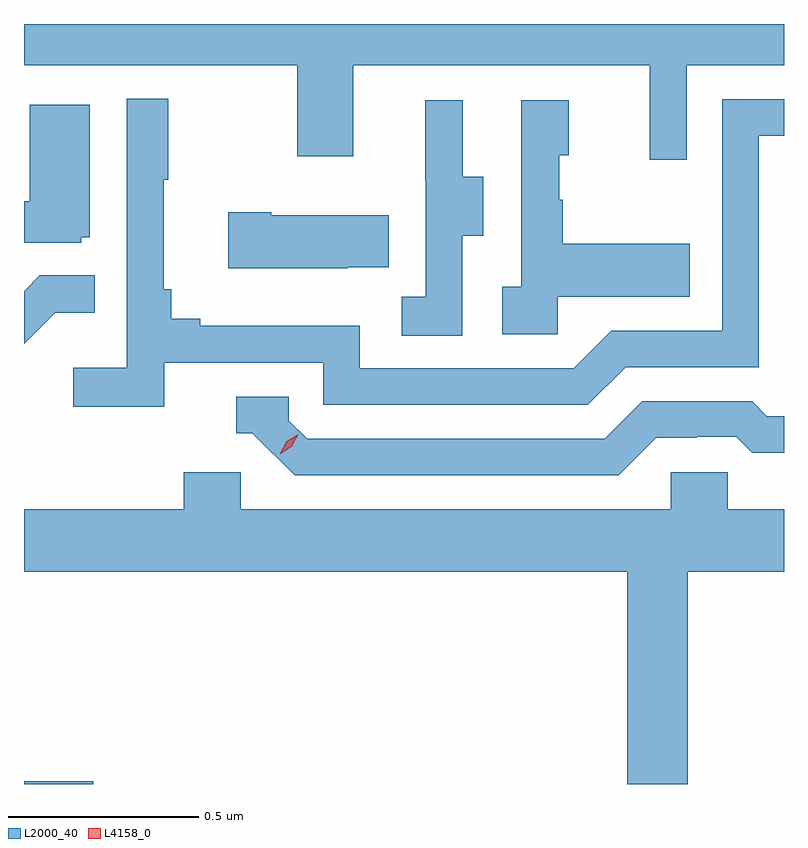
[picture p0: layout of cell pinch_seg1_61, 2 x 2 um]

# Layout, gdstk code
import gdstk
lib = gdstk.Library(unit=1e-6, precision=1e-09)
def R(c, l, rs):  # rectangles x0, y0, x1, y1
    for r in rs: c.add(gdstk.rectangle(r[:2], r[2:], *l))
def P(c, l, *ps):  # polygons
    for p in ps: c.add(gdstk.Polygon(p, *l))
L2000_40 = (2000, 40)
L4158_0 = (4158, 0)

pinch_seg1_61 = lib.new_cell('pinch_seg1_61')
R(pinch_seg1_61, L2000_40, [(1046.447,564.493,1046.629,564.5)])
P(pinch_seg1_61, L2000_40, [(1048.191,566.384),(1048.447,566.384),(1048.447,566.493),(1046.447,566.493),(1046.447,566.384),(1047.166,566.384),(1047.166,566.145),(1047.313,566.145),(1047.313,566.384),(1048.094,566.384),(1048.094,566.136),(1048.191,566.136)],
  [(1046.816,565.602),(1047.234,565.602),(1047.234,565.491),(1047.931,565.491),(1048.03,565.59),(1048.38,565.59),(1048.38,566.199),(1048.447,566.199),(1048.447,566.295),(1048.284,566.295),(1048.284,565.686),(1047.993,565.686),(1047.894,565.587),(1047.33,565.587),(1047.33,565.699),(1046.911,565.699),(1046.911,565.718),(1046.834,565.718),(1046.834,565.795),(1046.815,565.795),(1046.815,566.083),(1046.827,566.083),(1046.827,566.296),(1046.718,566.296),(1046.718,565.588),(1046.577,565.588),(1046.577,565.486),(1046.816,565.486)],
  [(1047.6,565.936),(1047.655,565.936),(1047.655,566.091),(1047.601,566.091),(1047.601,566.293),(1047.503,566.293),(1047.503,566.079),(1047.504,566.079),(1047.504,565.775),(1047.441,565.775),(1047.441,565.672),(1047.6,565.672)],
  [(1047.852,565.775),(1048.199,565.775),(1048.199,565.915),(1047.865,565.915),(1047.865,566.03),(1047.855,566.03),(1047.855,566.148),(1047.88,566.148),(1047.88,566.293),(1047.756,566.293),(1047.756,565.802),(1047.705,565.802),(1047.705,565.677),(1047.852,565.677)],
  [(1046.598,565.932),(1046.62,565.932),(1046.62,566.281),(1046.462,566.281),(1046.462,566.026),(1046.447,566.026),(1046.447,565.917),(1046.598,565.917)],
  [(1047.299,565.853),(1047.407,565.853),(1047.407,565.99),(1047.097,565.99),(1047.097,565.998),(1046.985,565.998),(1046.985,565.85),(1047.299,565.85)],
  [(1046.529,565.733),(1046.633,565.733),(1046.633,565.832),(1046.489,565.832),(1046.447,565.79),(1046.447,565.651)],
  [(1048.111,565.404),(1048.218,565.404),(1048.218,565.407),(1048.321,565.407),(1048.363,565.365),(1048.447,565.365),(1048.447,565.461),(1048.402,565.461),(1048.363,565.5),(1048.074,565.5),(1047.975,565.401),(1047.192,565.401),(1047.144,565.449),(1047.144,565.512),(1047.005,565.512),(1047.005,565.416),(1047.048,565.416),(1047.159,565.305),(1048.012,565.305)],
  [(1048.194,565.052),(1048.447,565.052),(1048.447,565.216),(1048.299,565.216),(1048.299,565.314),(1048.149,565.314),(1048.149,565.216),(1047.018,565.216),(1047.018,565.314),(1046.867,565.314),(1046.867,565.216),(1046.447,565.216),(1046.447,565.052),(1048.034,565.052),(1048.034,564.493),(1048.194,564.493)])
P(pinch_seg1_61, L4158_0, [(1047.121,565.362),(1047.121,565.363),(1047.138,565.395),(1047.169,565.414),(1047.169,565.414),(1047.169,565.414),(1047.152,565.382),(1047.122,565.362)])

lib.write_gds('pinch_seg1_61.gds')
